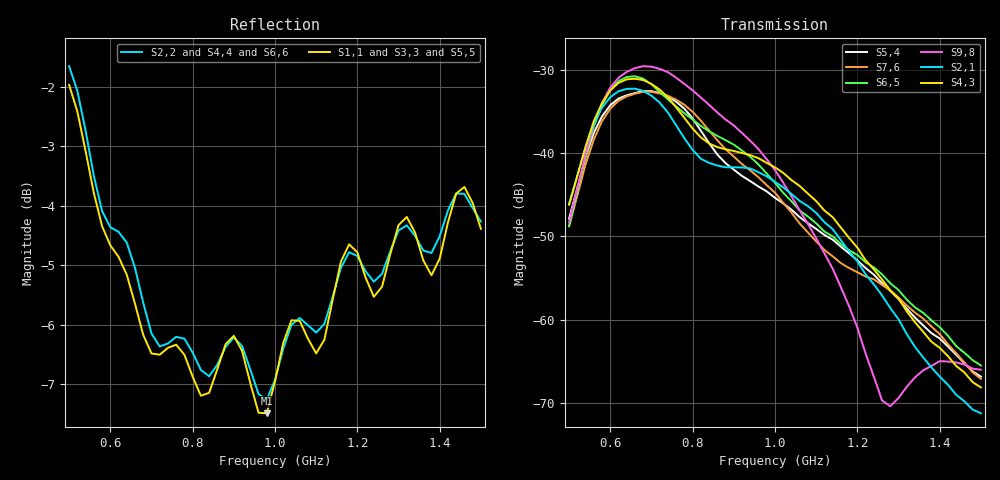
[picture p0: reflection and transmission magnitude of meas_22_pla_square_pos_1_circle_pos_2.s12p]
! Converted from meas_22_pla_square_pos_1_circle_pos_2.mat
! MATLAB 5.0 MAT-file, Platform: PCWIN64, Created on: Sat Nov 21 15:36:06 2026
! Ports 1-12 = antennas 1-12; IFBW=1000 Hz, power=0 dBm, doCalibration flag=1
! SW_A serial 12410080206: antennas 1 3 5 7 9 11
! SW_B serial 12410080235: antennas 2 4 6 8 10 12
! WARNING: Sij (i!=j) between two odd or two even ports was NOT MEASURED (NaN in source).
! Those entries are written as 0 0 placeholders. Do not treat them as data.
! Reference impedance 50 ohm is assumed (not stored in source).
# Hz S RI R 50
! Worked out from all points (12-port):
!   51 points, 500 MHz to 1.5 GHz, reference 50 ohm
!   strongest paths, dB at 500 MHz, 740 MHz, 1 GHz, 1.26 GHz, 1.5 GHz:
!     S4,3: -46.2, -33.3, -41.7, -55.2, -68.2
!     S2,1: -46.1, -35.1, -43.5, -57.1, -71.3
!     S9,8: -48.3, -30.3, -42.0, -69.7, -66.0
!     S6,5: -48.7, -33.5, -43.6, -54.6, -65.5
!     S7,6: -48.8, -33.1, -44.7, -55.8, -67.1
!     S5,4: -47.9, -33.2, -45.4, -55.6, -66.9
!   lowest |S11| = -7.5 dB at 980 MHz (marker M1), VSWR 2.46, Z = 26.9 - j25.2 ohm
!   |S11| at or under -10 dB: nowhere
